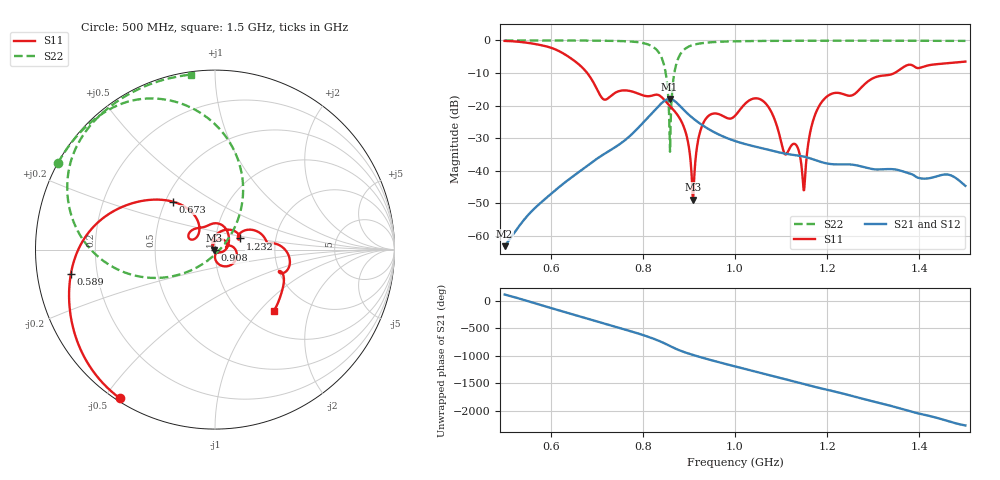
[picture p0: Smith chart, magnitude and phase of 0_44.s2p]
! TOUCHSTONE file generated by CST MICROWAVE STUDIO
! Date and time: Mon Sep 28 15:31:25 2020
! Project name: Scenario_1_Free_SPace.cst
! Parameters = {dx1=918; L_HA=400; MT=2.54; Rad_Dielectric=30; Rad_Lower=7.3; Rad_Upper=30; a_HA=580; a_WG=246; b_HA=500; b_WG=121; c_HA=0; c_WG=187; d_feed=85; h_feed=15; h_lower=18; h_upper=40}
! Header version: 2018
! Port assignment regex: !\s*Touchstone port\s*([0-9]+)\s*=\s*(CST MWS port|CST DS port)\s*([0-9]+|Zmin|Zmax)\s*\(\"(.*)\"\)(\s*mode\s*([0-9]+))?.*
! Touchstone port assignment:
! Touchstone port 1 = CST MWS port 1 ("")
! Touchstone port 2 = CST MWS port 2 ("")
# GHz S DB R 50
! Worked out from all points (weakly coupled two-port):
!   1003 points, 500 MHz to 1.5 GHz, reference 50 ohm
!   highest |S21| = -17.97 dB at 858 MHz (marker M1); lowest = -63.2 dB at 500 MHz (marker M2)
!   lowest |S11| = -48.9 dB at 909 MHz (marker M3), VSWR 1.01, Z = 49.7 - j0.196 ohm
!   |S11| at or under -10 dB: 679.2 MHz to 1.346 GHz (667.2 MHz wide, 65.9 % of centre)
!   |S22| runs from -34.2 to 0.0 dB; largest |S21 - S12| = 5.3e-05
!   S11 on the Smith chart (normalised r, x): 500 MHz: 0.01, -0.55; 589 MHz: 0.10, -0.08; 673 MHz: 0.55, +0.33; 908 MHz: 1.00, -0.01; 1.232 GHz: 1.31, +0.17; 1.5 GHz: 1.37, -1.20
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0.5  -0.15 -122.6  -63.21 114.5  -63.21 114.5  -0.01 151.1
0.589  -1.77 -170.3  -48.57 -102.0  -48.57 -102.0  -0.02 144.9
0.667  -8.11 135.4  -39.81 67.1  -39.81 67.1  -0.04 138.3
0.673  -8.97 131.4  -39.18 52.5  -39.18 52.5  -0.05 137.7
0.716  -18.16 141.1  -34.89 -54.1  -34.89 -54.1  -0.10 132.8
0.834  -16.78 78.8  -20.19 -3.2  -20.19 -3.2  -3.57 87.0
0.848  -18.48 53.6  -18.45 -54.9  -18.45 -54.9  -8.81 64.4
0.858  -20.01 38.9  -17.97 -95.8  -17.97 -95.8  -28.26 17.1
0.876  -23.06 11.4  -19.48 -166.2  -19.48 -166.2  -5.79 -165.4
0.895  -29.30 -26.4  -22.20 134.9  -22.20 134.9  -2.24 172.2
0.908  -47.44 -106.3  -23.83 100.1  -23.83 100.1  -1.43 163.5
0.909  -48.89 -146.8  -23.94 97.5  -23.94 97.5  -1.39 163.0
0.936  -24.20 69.4  -26.66 31.7  -26.66 31.7  -0.71 152.6
1  -23.16 16.6  -30.90 -110.0  -30.90 -110.0  -0.26 140.2
1.063  -18.86 -54.8  -33.27 115.0  -33.27 115.0  -0.15 133.1
1.108  -34.86 -60.2  -34.75 19.6  -34.75 19.6  -0.12 129.0
1.134  -32.38 -38.6  -35.31 -35.7  -35.31 -35.7  -0.11 126.8
1.149  -46.04 -128.6  -35.68 -68.8  -35.69 -68.8  -0.10 125.6
1.167  -25.88 103.6  -36.41 -108.3  -36.41 -108.3  -0.10 124.2
1.232  -16.36 24.2  -38.08 121.8  -38.08 121.8  -0.09 119.1
1.334  -10.60 7.2  -39.52 -96.9  -39.52 -96.9  -0.09 111.4
1.5  -6.50 -45.9  -44.68 -102.1  -44.73 -101.7  -0.14 97.8
